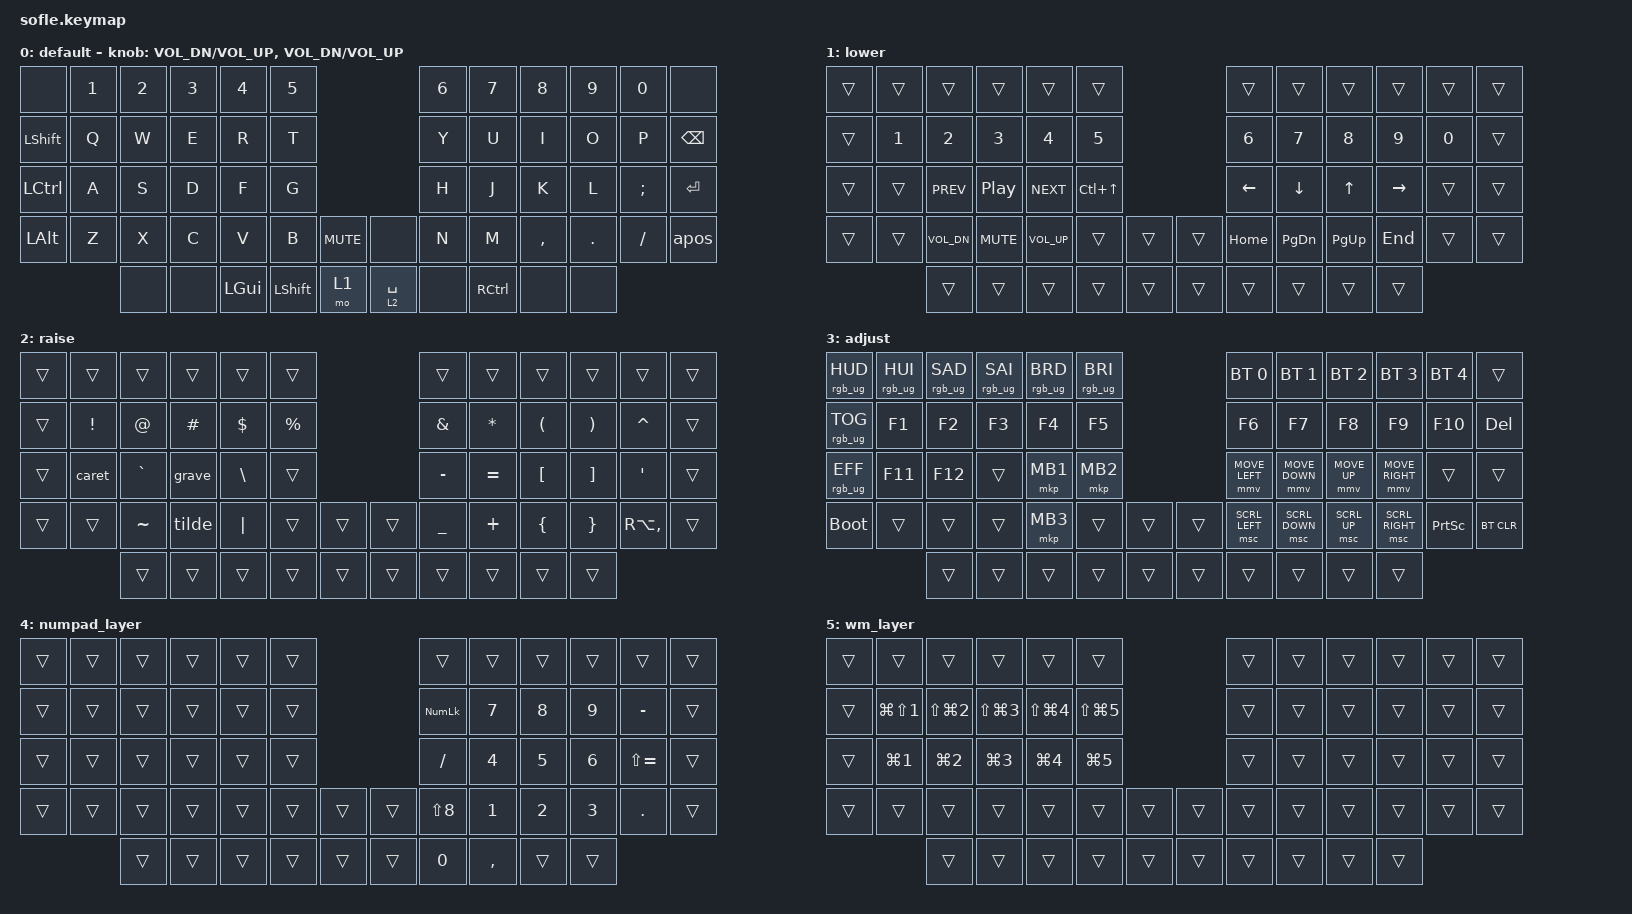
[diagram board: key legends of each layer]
/*
 * Copyright (c) 2020 The ZMK Contributors
 *
 * SPDX-License-Identifier: MIT
 */

#include <behaviors.dtsi>
#include <dt-bindings/zmk/bt.h>
#include <dt-bindings/zmk/keys.h>
#include <dt-bindings/zmk/pointing.h>
#include <dt-bindings/zmk/rgb.h>

#define BASE 0
#define LOWER 1
#define RAISE 2
#define ADJUST 3

&lt {
    tapping-term-ms = <100>;
    flavor = "hold-preferred";
    retro-tap;
};

/ {
    // Activate ADJUST layer by pressing raise and lower

    conditional_layers {
        compatible = "zmk,conditional-layers";

        adjust_layer {
            if-layers = <LOWER RAISE>;
            then-layer = <ADJUST>;
        };
    };

    combos {
        compatible = "zmk,combos";

        // Activate escape combo by pressing J and K

        resc {
            bindings = <&kp ESC>;
            key-positions = <31 32>;
            layers = <0>;
        };

        tab {
            bindings = <&kp TAB>;
            key-positions = <27 28>;
        };

        lesc {
            bindings = <&kp ESC>;
            key-positions = <13 14>;
        };

        numpad {
            bindings = <&tog 4>;
            key-positions = <45 46 47>;
        };

        wm {
            bindings = <&sl 5>;
            key-positions = <26 27>;
        };
    };

    macros {
        apos: apos {
            compatible = "zmk,behavior-macro";
            #binding-cells = <0>;
            bindings = <&kp SQT &kp SPACE>;
            label = "APOS";
        };

        caret: caret {
            compatible = "zmk,behavior-macro";
            #binding-cells = <0>;
            bindings = <&kp CARET &kp SPACE>;
            label = "CARET";
        };

        grave: grave {
            compatible = "zmk,behavior-macro";
            #binding-cells = <0>;
            bindings = <&kp GRAVE &kp SPACE>;
            label = "GRAVE";
        };

        tilde: tilde {
            compatible = "zmk,behavior-macro";
            #binding-cells = <0>;
            bindings = <&kp TILDE &kp SPACE>;
            label = "TILDE";
        };
    };

    keymap {
        compatible = "zmk,keymap";

        default_layer {
            display-name = "default";
            bindings = <
&none         &kp N1  &kp N2  &kp N3  &kp N4        &kp N5                                     &kp N6  &kp N7     &kp N8     &kp N9   &kp N0    &none
&kp LSHIFT    &kp Q   &kp W   &kp E   &kp R         &kp T                                      &kp Y   &kp U      &kp I      &kp O    &kp P     &kp BSPC
&kp LCTRL     &kp A   &kp S   &kp D   &kp F         &kp G                                      &kp H   &kp J      &kp K      &kp L    &kp SEMI  &kp RET
&kp LEFT_ALT  &kp Z   &kp X   &kp C   &kp V         &kp B           &kp C_MUTE    &none        &kp N   &kp M      &kp COMMA  &kp DOT  &kp FSLH  &apos
                      &none   &none   &kp LEFT_GUI  &kp LEFT_SHIFT  &mo 1         &lt 2 SPACE  &none   &kp RCTRL  &none      &none
            >;

            sensor-bindings =
                <&inc_dec_kp C_VOL_DN C_VOL_UP>,
                <&inc_dec_kp C_VOL_DN C_VOL_UP>;
        };

        lower_layer {
            display-name = "lower";
            bindings = <
&trans  &trans  &trans        &trans            &trans        &trans                              &trans    &trans     &trans     &trans     &trans  &trans
&trans  &kp N1  &kp N2        &kp N3            &kp N4        &kp N5                              &kp N6    &kp N7     &kp N8     &kp N9     &kp N0  &trans
&trans  &trans  &kp C_PREV    &kp C_PLAY_PAUSE  &kp C_NEXT    &kp LC(UP_ARROW)                    &kp LEFT  &kp DOWN   &kp UP     &kp RIGHT  &trans  &trans
&trans  &trans  &kp C_VOL_DN  &kp C_MUTE        &kp C_VOL_UP  &trans            &trans    &trans  &kp HOME  &kp PG_DN  &kp PG_UP  &kp END    &trans  &trans
                &trans        &trans            &trans        &trans            &trans    &trans  &trans    &trans     &trans     &trans
            >;
        };

        raise_layer {
            display-name = "raise";
            bindings = <
&trans  &trans    &trans     &trans    &trans         &trans                         &trans         &trans     &trans    &trans    &trans         &trans
&trans  &kp EXCL  &kp AT     &kp HASH  &kp DOLLAR     &kp PERCENT                    &kp AMPERSAND  &kp ASTRK  &kp LPAR  &kp RPAR  &kp CARET      &trans
&trans  &caret    &kp GRAVE  &grave    &kp BACKSLASH  &trans                         &kp MINUS      &kp EQUAL  &kp LBKT  &kp RBKT  &kp APOS       &trans
&trans  &trans    &kp TILDE  &tilde    &kp PIPE       &trans       &trans    &trans  &kp UNDER      &kp PLUS   &kp LBRC  &kp RBRC  &kp RA(COMMA)  &trans
                  &trans     &trans    &trans         &trans       &trans    &trans  &trans         &trans     &trans    &trans
            >;
        };

        adjust_layer {
            display-name = "adjust";
            bindings = <
&rgb_ug RGB_HUD  &rgb_ug RGB_HUI  &rgb_ug RGB_SAD  &rgb_ug RGB_SAI  &rgb_ug RGB_BRD  &rgb_ug RGB_BRI                    &bt BT_SEL 0    &bt BT_SEL 1    &bt BT_SEL 2  &bt BT_SEL 3     &bt BT_SEL 4     &trans
&rgb_ug RGB_TOG  &kp F1           &kp F2           &kp F3           &kp F4           &kp F5                             &kp F6          &kp F7          &kp F8        &kp F9           &kp F10          &kp DEL
&rgb_ug RGB_EFF  &kp F11          &kp F12          &trans           &mkp MB1         &mkp MB2                           &mmv MOVE_LEFT  &mmv MOVE_DOWN  &mmv MOVE_UP  &mmv MOVE_RIGHT  &trans           &trans
&bootloader      &trans           &trans           &trans           &mkp MB3         &trans           &trans    &trans  &msc SCRL_LEFT  &msc SCRL_DOWN  &msc SCRL_UP  &msc SCRL_RIGHT  &kp PRINTSCREEN  &bt BT_CLR
                                  &trans           &trans           &trans           &trans           &trans    &trans  &trans          &trans          &trans        &trans
            >;
        };

        numpad_layer {
            bindings = <
&trans  &trans  &trans  &trans  &trans  &trans                    &trans          &trans     &trans  &trans  &trans         &trans
&trans  &trans  &trans  &trans  &trans  &trans                    &kp KP_NUMLOCK  &kp N7     &kp N8  &kp N9  &kp MINUS      &trans
&trans  &trans  &trans  &trans  &trans  &trans                    &kp SLASH       &kp N4     &kp N5  &kp N6  &kp LS(EQUAL)  &trans
&trans  &trans  &trans  &trans  &trans  &trans  &trans    &trans  &kp LS(N8)      &kp N1     &kp N2  &kp N3  &kp PERIOD     &trans
                &trans  &trans  &trans  &trans  &trans    &trans  &kp N0          &kp COMMA  &trans  &trans
            >;
        };

        wm_layer {
            bindings = <
&trans  &trans                &trans                &trans                &trans                &trans                            &trans  &trans  &trans  &trans  &trans  &trans
&trans  &kp LG(LS(NUMBER_1))  &kp LS(LG(NUMBER_2))  &kp LS(LG(NUMBER_3))  &kp LS(LG(NUMBER_4))  &kp LS(LG(N5))                    &trans  &trans  &trans  &trans  &trans  &trans
&trans  &kp LG(NUMBER_1)      &kp LG(NUMBER_2)      &kp LG(NUMBER_3)      &kp LG(NUMBER_4)      &kp LG(N5)                        &trans  &trans  &trans  &trans  &trans  &trans
&trans  &trans                &trans                &trans                &trans                &trans          &trans    &trans  &trans  &trans  &trans  &trans  &trans  &trans
                              &trans                &trans                &trans                &trans          &trans    &trans  &trans  &trans  &trans  &trans
            >;
        };
    };
};
